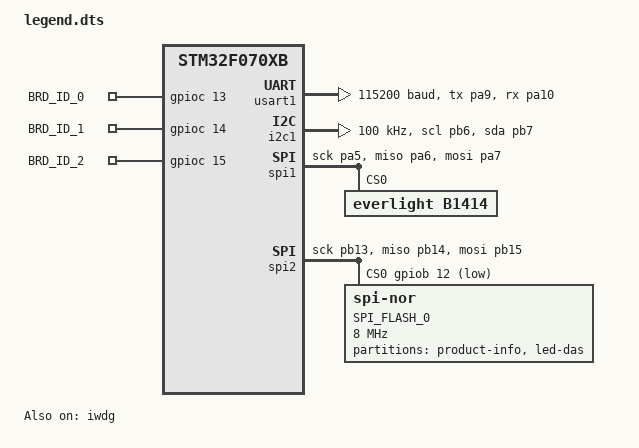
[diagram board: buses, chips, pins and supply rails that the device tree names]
/*
 * Copyright (c) 2021 Seagate Technology LLC
 *
 * SPDX-License-Identifier: Apache-2.0
 */

/dts-v1/;
#include <st/f0/stm32f070Xb.dtsi>
#include <st/f0/stm32f070cbtx-pinctrl.dtsi>
#include <zephyr/dt-bindings/led/led.h>
#include <zephyr/dt-bindings/led/seagate_legend_b1414.h>

/ {
	chosen {
		zephyr,console = &usart1;
		zephyr,shell-uart = &usart1;
		zephyr,sram = &sram0;
		zephyr,flash = &flash0;
	};

	aliases {
		watchdog0 = &iwdg;
		spi-flash0 = &spi_nor;
	};

	board_id: brd-id {
		compatible = "gpio-keys";
		brd_id0: brd_id_0 {
			label = "BRD_ID_0";
			gpios = <&gpioc 13 0>;
		};
		brd_id1: brd_id_1 {
			label = "BRD_ID_1";
			gpios = <&gpioc 14 0>;
		};
		brd_id2: brd_id_2 {
			label = "BRD_ID_2";
			gpios = <&gpioc 15 0>;
		};
	};

};

&usart1 {
	pinctrl-0 = <&usart1_tx_pa9 &usart1_rx_pa10>;
	pinctrl-names = "default";
	current-speed = <115200>;
	status = "okay";
};

&i2c1 {
	pinctrl-0 = <&i2c1_scl_pb6 &i2c1_sda_pb7>;
	pinctrl-names = "default";
	clock-frequency = <I2C_BITRATE_STANDARD>;
	status = "okay";
};

&spi1 {
	pinctrl-0 = <&spi1_sck_pa5 &spi1_miso_pa6 &spi1_mosi_pa7>;
	pinctrl-names = "default";
	dmas = <&dma1 3 0x20440>, <&dma1 2 0x20480>;
	dma-names = "tx", "rx";
	status = "okay";

	led_strip_spi: b1414@0 {
		compatible = "everlight,b1414", "worldsemi,ws2812-spi";
		label = "B1414";

		/* SPI */
		reg = <0>; /* ignored, but necessary for SPI bindings */
		spi-max-frequency = <SPI_FREQ>;

		/* B1414 */
		spi-one-frame = <ONE_FRAME>;
		spi-zero-frame = <ZERO_FRAME>;
		color-mapping = <LED_COLOR_ID_RED>,
				<LED_COLOR_ID_GREEN>,
				<LED_COLOR_ID_BLUE>;
		reset-delay = <250>;
	};
};

&spi2 {
	pinctrl-0 = <&spi2_sck_pb13 &spi2_miso_pb14 &spi2_mosi_pb15>;
	pinctrl-names = "default";
	cs-gpios = <&gpiob 12 GPIO_ACTIVE_LOW>;
	status = "okay";

	spi_nor: spi_nor@0 {
		status = "okay";
		compatible = "jedec,spi-nor";
		reg = <0>;
		spi-max-frequency = <8000000>;
		label = "SPI_FLASH_0";
		size = <1048576>;
		/*
		 * Main flash source
		 *
		 * Vendor     : Puya
		 * Model      : P25Q21H
		 * Total size : 256 KB
		 * Erase size : whole chip, 64 and 32 KB blocks, 4 KB sectors,
		 *              256 B pages
		 * Write size : up to 256 B (page size)
		 * Lifetime   : 100K erase/program cycles on each sector/block
		 */
		jedec-id = [85 40 12];
		/*
		 * Alternate flash source
		 *
		 * Vendor     : Fudan
		 * Model      : FM25F01B
		 * Total size : 128 KB
		 * Erase size : whole chip, 64 and 32 KB blocks, 4 KB sectors
		 * Write size : up to 256 B (page size)
		 * Lifetime   : 100K erase/program cycles on each sector/block
		 *
		 * jedec-id = [a1 31 11];
		 *
		 * Model only found in first Jordan (2"5) EVT revision
		 *
		 * Vendor     : Fudan
		 * Model      : FM25F005
		 * Total size : 64 KB
		 * Erase size : whole chip, 64 and 32 KB blocks, 4 KB sectors
		 *
		 * jedec-id = [a1 31 10];
		 */
		partitions {
			compatible = "fixed-partitions";
			#address-cells = <1>;
			#size-cells = <1>;

			product_info: partition@0 {
				label = "product-info";
				reg = <0x00000000 DT_SIZE_K(4)>;
			};
			led_das: partition@10000 {
				label = "led-das";
				reg = <0x00001000 DT_SIZE_K(60)>;
			};
		};
	};
};

&spi_nor {
	status = "okay";
};

&dma1 {
	status = "okay";
};

&timers3 {
	/*
	 * The maximum period needed on Legend devices for activity LED
	 * hardware blinking is 250ms (i.e. "error" fast blink at 4 Hz).
	 *
	 * We can use the following equation to compute the
	 * corresponding prescaler value:
	 *
	 * period_max = counter_size / cycles_per_second
	 *
	 * With:
	 *
	 * cycles_per_second = 48 MHz / (prescaler + 1)
	 * counter_size = 2^16
	 * period_max = 0.25
	 *
	 * Which gives:
	 *
	 * prescaler = 48 MHz * 0.25 / 2^16 + 1 = 182
	 *
	 * So any prescaler value above 182 is good for a 4 Hz hardware
	 * blinking. In addition the PWM frequency must be as high as
	 * possible to fool eyes and cameras with steady brightness
	 * levels.
	 */
	st,prescaler = <200>;

	pwm3: pwm {
		pinctrl-0 = <&tim3_ch3_pb0>;
		pinctrl-names = "default";
		status = "disabled";
	};
};

&gpiod {
	status = "disabled";
};

&gpiof {
	status = "disabled";
};

&iwdg {
	status = "okay";
};
